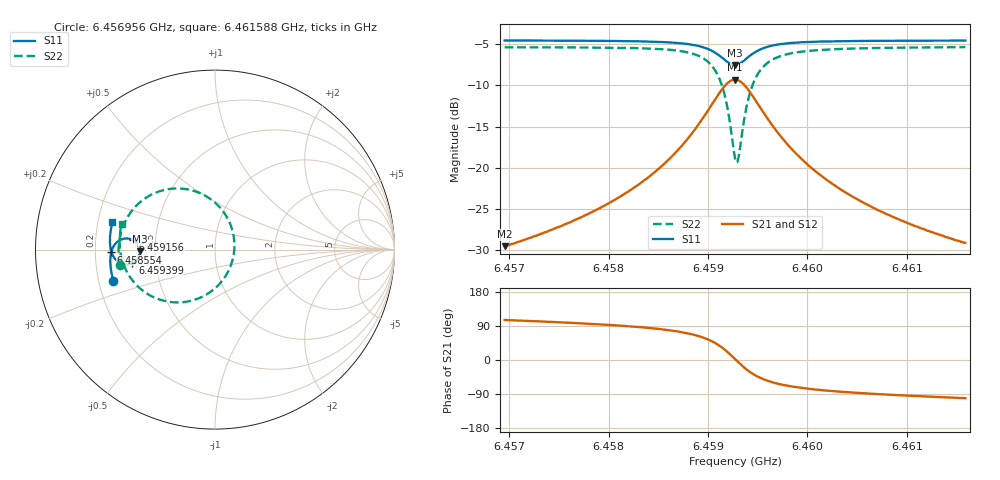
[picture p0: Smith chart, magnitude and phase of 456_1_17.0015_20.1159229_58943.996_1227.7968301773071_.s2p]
#  HZ  S  RI  R  50.00
! Rohde & Schwarz Vector Network Analyzer
! Rohde-Schwarz,ZNB20-2Port,1311601062101988,3.16
! Created: UTC 3/20/2024, 11:12:28 PM
! freq[Hz]  re:S11  im:S11  re:S21  im:S21  re:S12  im:S12  re:S22  im:S22
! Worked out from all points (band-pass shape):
!   401 points, 6.456956 GHz to 6.461588 GHz, reference 50 ohm
!   highest |S21| = -9.30 dB at 6.459272 GHz (marker M1); lowest = -29.5 dB at 6.456956 GHz (marker M2)
!   |S21| within 3 dB of the highest: 6.45904 GHz to 6.459504 GHz (463.5 kHz wide, 0.00718 % of centre)
!   lowest |S11| = -7.5 dB at 6.459272 GHz (marker M3), VSWR 2.45, Z = 20.4 - j0.516 ohm
!   |S11| at or under -10 dB: nowhere
!   |S22| runs from -19.3 to -5.4 dB; largest |S21 - S12| = 0.013
!   S11 on the Smith chart (normalised r, x): 6.456956 GHz: 0.26, -0.14; 6.458554 GHz: 0.27, -0.01; 6.459156 GHz: 0.37, +0.05; 6.459399 GHz: 0.37, -0.07; 6.461588 GHz: 0.26, +0.12
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6.4569555e9  -0.5661 -0.1739  -0.00896 0.0322  -0.00723 0.0322  -0.5314 -0.0866
6.4577315e9  -0.5804 -0.1061  -0.00569 0.0499  -0.00319 0.0494  -0.5372 0.0036
6.4581484e9  -0.5835 -0.0646  -3.6e-05 0.0687  0.00314 0.0673  -0.5298 0.0688
6.4585074e9  -0.5799 -0.0221  0.0138 0.0979  0.0179 0.0953  -0.5043 0.1485
6.4585537e9  -0.5785 -0.0158  0.0173 0.1034  0.0213 0.1005  -0.498 0.1617
6.4587622e9  -0.5664 0.016  0.0431 0.1349  0.0473 0.1302  -0.4494 0.233
6.4589128e9  -0.5452 0.0423  0.0856 0.165  0.089 0.1586  -0.3713 0.2968
6.4590633e9  -0.4993 0.0619  0.1767 0.184  0.1777 0.1767  -0.2044 0.3407
6.459156e9  -0.4552 0.0519  0.2661 0.1532  0.2663 0.1473  -0.039 0.2913
6.4592023e9  -0.4342 0.0333  0.3094 0.1106  0.3107 0.1055  0.0433 0.2157
6.4592718e9  -0.4194 -0.0104  0.3426 0.0146  0.3462 0.00773  0.1081 0.0373
6.4592834e9  -0.4198 -0.0183  0.3424 -0.00303  0.3463 -0.0107  0.1078 0.00391
6.4593065e9  -0.4232 -0.0339  0.337 -0.0375  0.3407 -0.0466  0.0969 -0.0614
6.4593992e9  -0.4605 -0.076  0.2672 -0.1378  0.2662 -0.1509  -0.0442 -0.2482
6.4594455e9  -0.4834 -0.0827  0.223 -0.1603  0.2192 -0.1729  -0.1326 -0.2851
6.4595034e9  -0.5081 -0.0818  0.1739 -0.1696  0.1674 -0.1805  -0.2293 -0.2937
6.459654e9  -0.5494 -0.0601  0.0913 -0.1534  0.083 -0.1591  -0.3863 -0.2401
6.4598161e9  -0.5694 -0.0327  0.049 -0.1258  0.0416 -0.1285  -0.4619 -0.1695
6.4600477e9  -0.5811 0.00107  0.0222 -0.0964  0.0163 -0.097  -0.506 -0.092
6.4603836e9  -0.5855 0.0409  0.00649 -0.0705  0.00245 -0.0701  -0.5271 -0.0153
6.4608237e9  -0.5835 0.085  -0.00145 -0.0515  -0.00419 -0.0507  -0.5316 0.055
6.4615881e9  -0.5712 0.1525  -0.00658 -0.0344  -0.00821 -0.0333  -0.5201 0.1447
